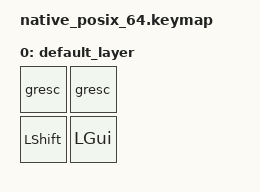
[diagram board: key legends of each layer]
#include <dt-bindings/zmk/keys.h>
#include <behaviors.dtsi>
#include <dt-bindings/zmk/kscan_mock.h>

/*
This test checks nothing breaks if two grave-escapes are pressed at the same time.
If someone ever really needs two, they can make a second behavior definition.

The second gresc that is pressed is ignored.
The first gresc that is released releases the key.
*/

/ {
    keymap {
        compatible = "zmk,keymap";
        label ="Default keymap";

        default_layer {
            bindings = <
                &gresc         &gresc
                &kp LEFT_SHIFT &kp LEFT_GUI
            >;
        };
    };
};

&kscan {
    events = <
        /* esc */
        ZMK_MOCK_PRESS(0,0,10)
        ZMK_MOCK_PRESS(0,1,10) /* the second gresc is ignored */
        ZMK_MOCK_RELEASE(0,0,10)
        ZMK_MOCK_RELEASE(0,1,10) /* the second gresc is ignored */

        /* ~ */
        ZMK_MOCK_PRESS(1,0,10)
        ZMK_MOCK_PRESS(0,1,10)
        ZMK_MOCK_PRESS(0,0,10)  /* the second gresc is ignored */
        ZMK_MOCK_RELEASE(1,0,10)
        ZMK_MOCK_RELEASE(0,1,10)
        ZMK_MOCK_RELEASE(0,0,10)  /* the second gresc is ignored */
    >;
};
